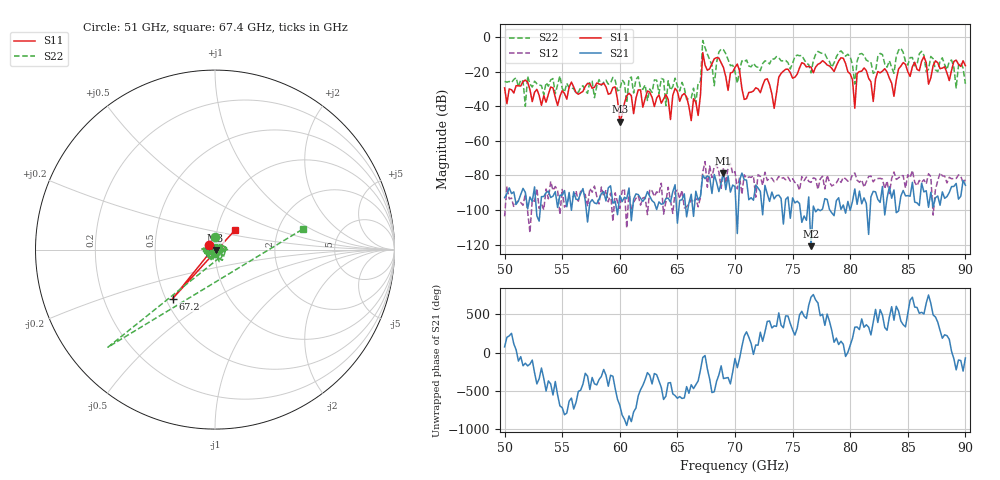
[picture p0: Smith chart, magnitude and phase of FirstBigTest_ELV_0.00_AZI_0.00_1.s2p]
! 11/24/2026 3:09:16 PM
! C:\ANRITSUVNA\TEMP\TEMP.S2P
! CHANNEL.1
! TR.MEASUREMENT
! RAW.DATA
# HZ S RI R 50.0
! FREQ.HZ  S11RE  S11IM  S21RE  S21IM  S12RE  S12IM  S22RE  S22IM
!; PortSelection: Port_12
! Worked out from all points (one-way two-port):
!   201 points, 50 GHz to 90 GHz, reference 50 ohm
!   highest |S21| = -78.56 dB at 69 GHz (marker M1); lowest = -120.9 dB at 76.6 GHz (marker M2)
!   lowest |S11| = -48.9 dB at 60 GHz (marker M3), VSWR 1.01, Z = 50.3 - j0.147 ohm
!   |S11| at or under -10 dB: start of sweep to 67.19 GHz; 67.23 GHz to end of sweep
!   |S22| runs from -39.9 to -1.9 dB; largest |S21 - S12| = 0.00029
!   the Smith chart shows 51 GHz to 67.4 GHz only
!   S11 on the Smith chart (normalised r, x): 51 GHz: 0.94, +0.05; 67.2 GHz: 0.54, -0.34; 67.4 GHz: 1.22, +0.27
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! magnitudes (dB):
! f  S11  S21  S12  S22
! 50 GHz  -29.3  -92.8  -103.6  -25.6
! 51 GHz  -28.0  -96.7  -95.6  -23.4
! 51.8 GHz  -24.8  -89.8  -90.6  -39.9
! 52 GHz  -26.0  -99.4  -100.9  -22.6
! 56.8 GHz  -31.3  -87.6  -90.3  -28.0
! 59.6 GHz  -28.8  -94.9  -90.0  -24.9
! 60 GHz  -48.9  -91.7  -99.0  -30.4
! 63.4 GHz  -33.3  -95.3  -90.5  -32.6
! 66.8 GHz  -45.3  -94.3  -98.2  -26.4
! 67.2 GHz  -8.8  -79.8  -78.1  -1.9
! 67.4 GHz  -16.1  -81.9  -72.0  -6.0
! 68.2 GHz  -12.4  -79.4  -74.7  -28.1
! 69 GHz  -17.6  -78.6  -75.5  -7.2
! 70 GHz  -17.4  -86.4  -77.8  -19.9
! 73.4 GHz  -41.1  -93.5  -83.6  -12.7
! 76.6 GHz  -17.3  -120.9  -84.0  -20.6
! 76.8 GHz  -20.6  -97.7  -81.4  -13.6
! 79.4 GHz  -12.2  -97.1  -81.1  -9.4
! 80.4 GHz  -41.1  -87.8  -78.6  -27.1
! 80.6 GHz  -21.0  -96.7  -82.7  -13.9
! 83.4 GHz  -23.6  -86.5  -90.5  -13.6
! 90 GHz  -16.4  -85.7  -82.5  -27.0
